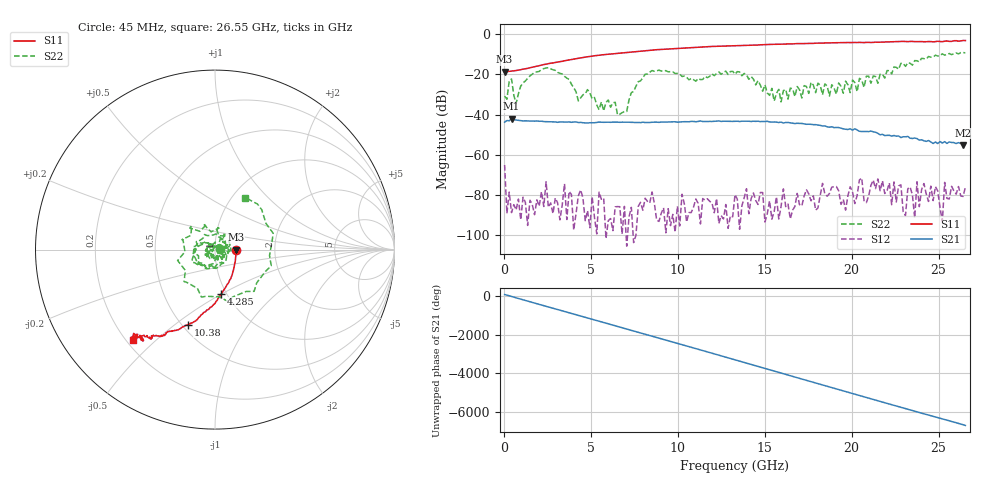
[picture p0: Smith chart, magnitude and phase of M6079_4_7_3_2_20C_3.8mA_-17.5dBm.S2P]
!  2-Port S-parameters saved by WinCal
! VAR MeasName=S-Parameters (CALIBRATED_DATA) read from VNA (C)
! VAR MeasDate=10/5/2015 4:53:45 PM
! VAR NAME=M6079_4_7_3_2_20C_3.8mA_-17.5dBm
! VAR FILENAME=M6079_4_7_3_2_20C_3.8mA_-17.5dBm.S2P
! VAR DATE=10/5/2015 4:53:45 PM
! VAR PHYS_PORTS=2,1
! VAR ObjTypeName=DATASET
! VAR IndexType=Frequency
# Hz S DB R 50
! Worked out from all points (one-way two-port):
!   201 points, 45 MHz to 26.55 GHz, reference 50 ohm
!   highest |S21| = -42.07 dB at 442.5 MHz (marker M1); lowest = -55.1 dB at 26.41 GHz (marker M2)
!   lowest |S11| = -18.7 dB at 45 MHz (marker M3), VSWR 1.26, Z = 63.1 - j0.0224 ohm
!   |S11| at or under -10 dB: start of sweep to 6.128 GHz
!   |S22| runs from -40.1 to -9.2 dB; largest |S21 - S12| = 0.0078
!   S11 on the Smith chart (normalised r, x): 45 MHz: 1.26, -0.00; 4.285 GHz: 0.95, -0.50; 10.38 GHz: 0.54, -0.56; 26.55 GHz: 0.22, -0.43
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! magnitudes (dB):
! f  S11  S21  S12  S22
! 45 MHz  -18.7  -43.8  -65.0  -30.9
! 177.5 MHz  -18.7  -43.0  -89.1  -32.4
! 442.5 MHz  -18.5  -42.1  -88.7  -22.4
! 707.5 MHz  -18.2  -42.8  -87.3  -34.6
! 1.105 GHz  -17.5  -43.2  -81.0  -24.4
! 2.297 GHz  -15.2  -43.5  -85.6  -17.2
! 2.43 GHz  -15.0  -43.5  -73.4  -16.9
! 2.562 GHz  -14.7  -43.6  -86.0  -16.8
! 4.285 GHz  -12.1  -44.0  -80.3  -33.3
! 4.55 GHz  -11.8  -44.1  -81.5  -30.2
! 6.67 GHz  -9.5  -43.9  -85.7  -39.9
! 8.922 GHz  -7.8  -43.9  -93.0  -18.0
! 10.38 GHz  -7.1  -43.6  -84.2  -20.9
! 13.29 GHz  -5.9  -43.3  -79.8  -20.0
! 15.55 GHz  -5.2  -43.7  -88.2  -33.3
! 17.8 GHz  -4.7  -45.0  -80.3  -25.4
! 20.32 GHz  -4.3  -47.7  -80.2  -28.7
! 20.58 GHz  -4.3  -48.5  -71.5  -22.9
! 20.71 GHz  -4.3  -48.4  -82.7  -26.6
! 22.17 GHz  -4.0  -50.3  -74.0  -18.3
! 26.41 GHz  -3.3  -55.1  -80.6  -9.2
! 26.55 GHz  -3.3  -54.5  -76.0  -9.5
